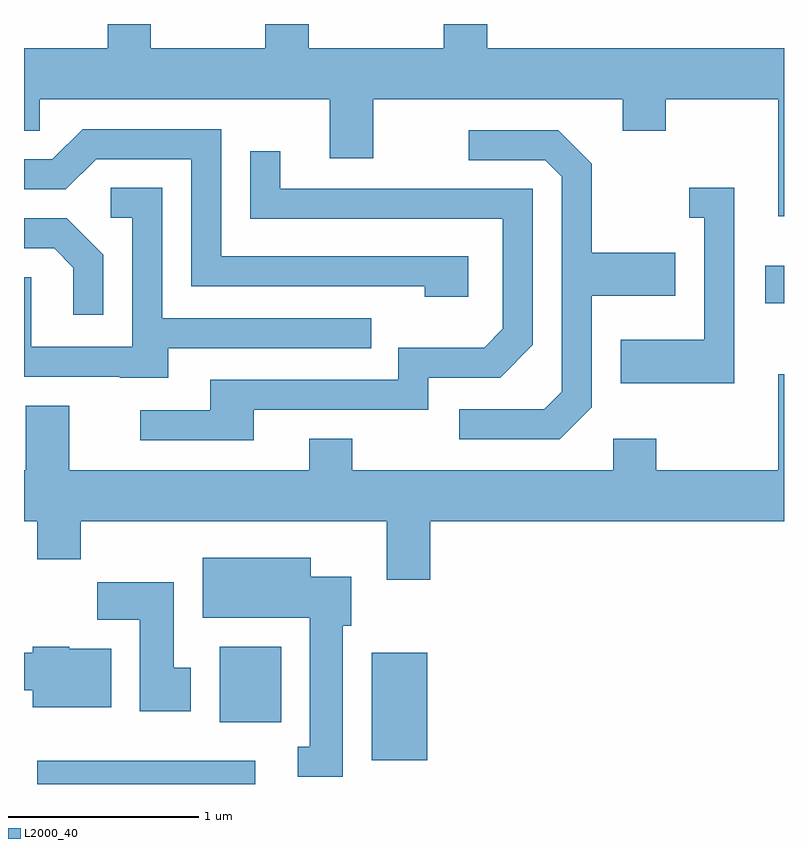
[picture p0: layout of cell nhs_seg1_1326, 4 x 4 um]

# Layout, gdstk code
import gdstk
lib = gdstk.Library(unit=1e-6, precision=1e-09)
def R(c, l, rs):  # rectangles x0, y0, x1, y1
    for r in rs: c.add(gdstk.rectangle(r[:2], r[2:], *l))
def P(c, l, *ps):  # polygons
    for p in ps: c.add(gdstk.Polygon(p, *l))
L2000_40 = (2000, 40)

nhs_seg1_1326 = lib.new_cell('nhs_seg1_1326')
R(nhs_seg1_1326, L2000_40, [(225.681,933.712,226.829,933.834), (227.441,933.836,227.734,934.404), (226.641,934.036,226.964,934.434), (229.511,936.241,229.611,936.439)])
P(nhs_seg1_1326, L2000_40, [(229.611,937.584),(228.049,937.584),(228.049,937.712),(227.821,937.712),(227.821,937.584),(227.109,937.584),(227.109,937.712),(226.881,937.712),(226.881,937.584),(226.279,937.584),(226.279,937.712),(226.051,937.712),(226.051,937.584),(225.611,937.584),(225.611,937.151),(225.694,937.151),(225.694,937.316),(227.221,937.316),(227.221,937.006),(227.449,937.006),(227.449,937.316),(228.761,937.316),(228.761,937.151),(228.989,937.151),(228.989,937.316),(229.581,937.316),(229.581,936.701),(229.611,936.701)],
  [(227.949,936.489),(226.649,936.489),(226.649,937.159),(225.919,937.159),(225.759,936.999),(225.611,936.999),(225.611,936.841),(225.832,936.841),(225.992,937.001),(226.491,937.001),(226.491,936.331),(227.721,936.331),(227.721,936.276),(227.949,936.276)],
  [(228.599,935.694),(228.599,936.281),(229.039,936.281),(229.039,936.509),(228.599,936.509),(228.599,936.977),(228.422,937.154),(227.953,937.154),(227.953,936.996),(228.354,936.996),(228.441,936.909),(228.441,935.777),(228.349,935.684),(227.903,935.684),(227.903,935.526),(228.432,935.526)],
  [(226.819,935.681),(227.739,935.681),(227.739,935.851),(228.117,935.851),(228.289,936.024),(228.289,936.844),(226.959,936.844),(226.959,937.043),(226.801,937.043),(226.801,936.686),(228.131,936.686),(228.131,936.107),(228.034,936.009),(227.581,936.009),(227.581,935.839),(226.591,935.839),(226.591,935.679),(226.223,935.679),(226.223,935.521),(226.819,935.521)],
  [(229.349,936.849),(229.113,936.849),(229.113,936.691),(229.191,936.691),(229.191,936.049),(228.751,936.049),(228.751,935.821),(229.349,935.821)],
  [(226.369,936.006),(227.438,936.006),(227.438,936.164),(226.339,936.164),(226.339,936.849),(226.068,936.849),(226.068,936.691),(226.181,936.691),(226.181,936.014),(225.649,936.014),(225.649,936.379),(225.611,936.379),(225.611,935.856),(226.115,935.856),(226.115,935.851),(226.369,935.851)],
  [(226.029,936.497),(225.837,936.689),(225.611,936.689),(225.611,936.531),(225.769,936.531),(225.871,936.429),(225.871,936.183),(226.029,936.183)],
  [(227.749,935.096),(229.611,935.096),(229.611,935.869),(229.581,935.869),(229.581,935.364),(228.939,935.364),(228.939,935.529),(228.711,935.529),(228.711,935.364),(227.339,935.364),(227.339,935.529),(227.111,935.529),(227.111,935.364),(225.849,935.364),(225.849,935.704),(225.621,935.704),(225.621,935.364),(225.611,935.364),(225.611,935.096),(225.681,935.096),(225.681,934.896),(225.909,934.896),(225.909,935.096),(227.521,935.096),(227.521,934.786),(227.749,934.786)],
  [(227.289,934.546),(227.334,934.546),(227.334,934.804),(227.119,934.804),(227.119,934.904),(226.551,934.904),(226.551,934.586),(227.116,934.586),(227.116,933.909),(227.053,933.909),(227.053,933.751),(227.289,933.751)],
  [(226.489,934.324),(226.399,934.324),(226.399,934.774),(225.996,934.774),(225.996,934.576),(226.221,934.576),(226.221,934.096),(226.489,934.096)],
  [(226.069,934.424),(225.85,934.424),(225.85,934.434),(225.656,934.434),(225.656,934.404),(225.611,934.404),(225.611,934.206),(225.656,934.206),(225.656,934.116),(226.069,934.116)])

lib.write_gds('nhs_seg1_1326.gds')
